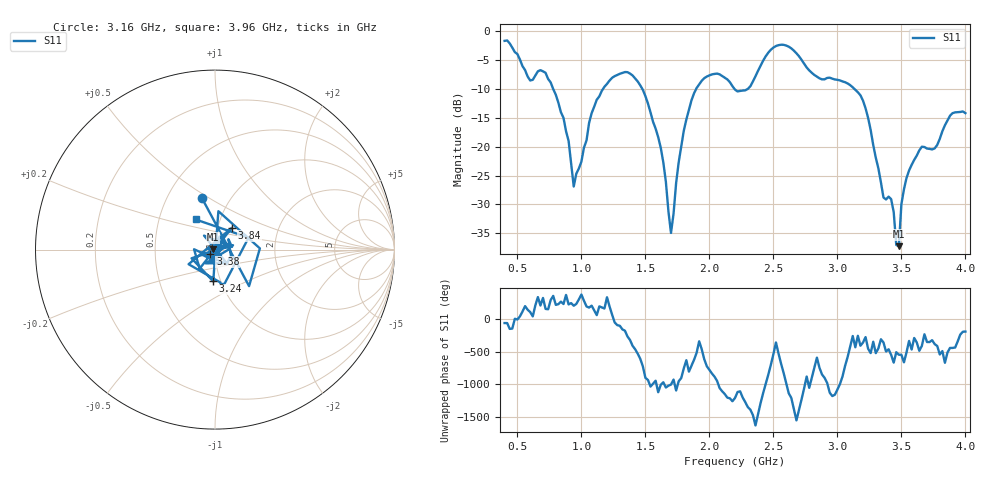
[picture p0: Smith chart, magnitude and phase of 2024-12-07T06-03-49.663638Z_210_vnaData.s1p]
!Created with skrf (http://scikit-rf.org).
# Hz S RI R 50.0
!freq ReS11 ImS11
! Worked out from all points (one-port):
!   181 points, 400 MHz to 4 GHz, reference 50 ohm
!   lowest |S11| = -37.2 dB at 3.48 GHz (marker M1), VSWR 1.03, Z = 48.6 + j0.131 ohm
!   |S11| at or under -10 dB: 779.2 MHz to 1.169 GHz (390.2 MHz wide, 40.1 % of centre); 1.476 GHz to 1.897 GHz (421 MHz wide, 25 % of centre); 3.133 GHz to end of sweep (the widest 3 of 4)
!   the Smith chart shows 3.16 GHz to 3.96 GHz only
!   S11 on the Smith chart (normalised r, x): 3.16 GHz: 0.74, +0.47; 3.24 GHz: 0.92, -0.34; 3.38 GHz: 0.95, -0.05; 3.84 GHz: 1.17, +0.29; 3.96 GHz: 0.76, +0.27
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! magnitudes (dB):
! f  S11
! 400 MHz  -1.7
! 600 MHz  -8.6
! 720 MHz  -7.2
! 860 MHz  -15.0
! 940 MHz  -26.9
! 1.12 GHz  -11.9
! 1.3 GHz  -7.4
! 1.52 GHz  -12.5
! 1.62 GHz  -20.2
! 1.7 GHz  -34.9
! 1.76 GHz  -22.7
! 1.86 GHz  -12.0
! 1.94 GHz  -8.6
! 2.2 GHz  -10.1
! 2.5 GHz  -2.9
! 2.66 GHz  -3.4
! 3.1 GHz  -9.4
! 3.16 GHz  -10.6
! 3.24 GHz  -15.0
! 3.38 GHz  -29.1
! 3.42 GHz  -29.1
! 3.46 GHz  -37.0
! 3.48 GHz  -37.2
! 3.5 GHz  -30.0
! 3.56 GHz  -24.1
! 3.84 GHz  -16.3
! 3.96 GHz  -14.0
! 4 GHz  -14.2
